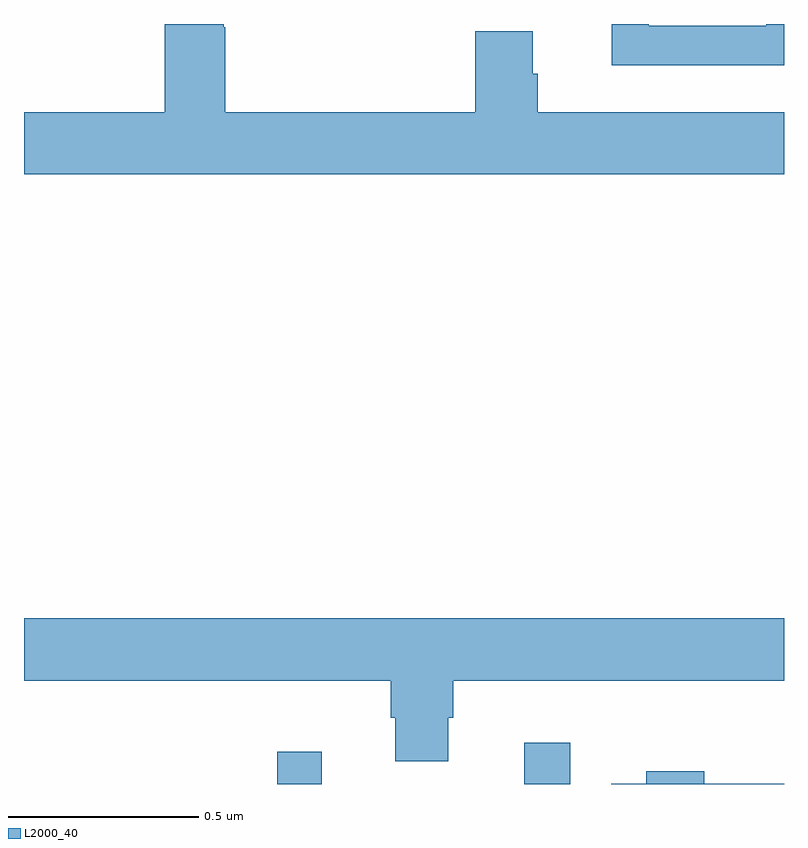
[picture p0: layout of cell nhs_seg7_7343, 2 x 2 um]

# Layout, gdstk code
import gdstk
lib = gdstk.Library(unit=1e-6, precision=1e-09)
def R(c, l, rs):  # rectangles x0, y0, x1, y1
    for r in rs: c.add(gdstk.rectangle(r[:2], r[2:], *l))
def P(c, l, *ps):  # polygons
    for p in ps: c.add(gdstk.Polygon(p, *l))
L2000_40 = (2000, 40)

nhs_seg7_7343 = lib.new_cell('nhs_seg7_7343')
R(nhs_seg7_7343, L2000_40, [(210.667,1011,210.783,1011.085), (211.316,1011,211.438,1011.109)])
P(nhs_seg7_7343, L2000_40, [(212,1012.768),(211.352,1012.768),(211.352,1012.869),(211.339,1012.869),(211.339,1012.981),(211.187,1012.981),(211.187,1012.768),(210.53,1012.768),(210.53,1012.991),(210.525,1012.991),(210.525,1013),(210.37,1013),(210.37,1012.768),(210,1012.768),(210,1012.604),(212,1012.604)],
  [(212,1013),(211.953,1013),(211.953,1012.996),(211.644,1012.996),(211.644,1013),(211.547,1013),(211.547,1012.892),(212,1012.892)],
  [(211.117,1011.174),(211.13,1011.174),(211.13,1011.272),(212,1011.272),(212,1011.436),(210,1011.436),(210,1011.272),(210.965,1011.272),(210.965,1011.174),(210.977,1011.174),(210.977,1011.06),(211.117,1011.06)],
  [(212,1011.001),(211.79,1011.001),(211.79,1011.034),(211.637,1011.034),(211.637,1011.001),(211.545,1011.001),(211.545,1011),(212,1011)])

lib.write_gds('nhs_seg7_7343.gds')
